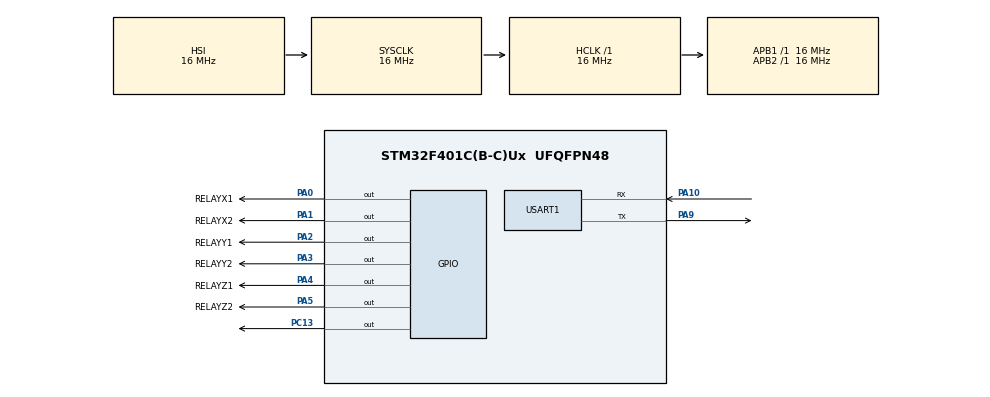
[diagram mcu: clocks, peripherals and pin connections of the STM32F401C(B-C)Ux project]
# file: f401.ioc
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Mcu.Family=STM32F4
Mcu.Name=STM32F401C(B-C)Ux
Mcu.Package=UFQFPN48
NVIC.PriorityGroup=NVIC_PRIORITYGROUP_4
PA0-WKUP.GPIO_Label=RELAYX1
PA0-WKUP.Signal=GPIO_Output
PA1.GPIO_Label=RELAYX2
PA1.Signal=GPIO_Output
PA10.Mode=Asynchronous
PA10.Signal=USART1_RX
PA2.GPIO_Label=RELAYY1
PA2.Signal=GPIO_Output
PA3.GPIO_Label=RELAYY2
PA3.Signal=GPIO_Output
PA4.GPIO_Label=RELAYZ1
PA4.Signal=GPIO_Output
PA5.GPIO_Label=RELAYZ2
PA5.Signal=GPIO_Output
PA9.Mode=Asynchronous
PA9.Signal=USART1_TX
PC13-ANTI_TAMP.Signal=GPIO_Output
PC14-OSC32_IN.Mode=LSE-External-Oscillator
PC14-OSC32_IN.Signal=RCC_OSC32_IN
PC15-OSC32_OUT.Mode=LSE-External-Oscillator
PC15-OSC32_OUT.Signal=RCC_OSC32_OUT
PH0\ -\ OSC_IN.Mode=HSE-External-Oscillator
PH0\ -\ OSC_IN.Signal=RCC_OSC_IN
PH1\ -\ OSC_OUT.Mode=HSE-External-Oscillator
PH1\ -\ OSC_OUT.Signal=RCC_OSC_OUT
ProjectManager.HeapSize=0x200
ProjectManager.StackSize=0x400
ProjectManager.TargetToolchain=STM32CubeIDE
RCC.AHBFreq_Value=16000000
RCC.APB1Freq_Value=16000000
RCC.APB2Freq_Value=16000000
RCC.CortexFreq_Value=16000000
RCC.HSE_VALUE=25000000
RCC.HSI_VALUE=16000000
RCC.SYSCLKFreq_VALUE=16000000
RCC.VCOOutputFreq_Value=192000000
USART1.VirtualMode=VM_ASYNC
board=custom

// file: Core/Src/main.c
/* USER CODE BEGIN Header */
/**
  ******************************************************************************
  * @file           : main.c
  * @brief          : Main program body
  ******************************************************************************
  * @attention
  *
  * Copyright (c) 2022 STMicroelectronics.
  * All rights reserved.
  *
  * This software is licensed under terms that can be found in the LICENSE file
  * in the root directory of this software component.
  * If no LICENSE file comes with this software, it is provided AS-IS.
  *
  ******************************************************************************
  */
/* USER CODE END Header */
#include "main.h"

/* USER CODE BEGIN Includes */
#include <stdio.h>
#include <stdbool.h>
#include <string.h>
/* USER CODE END Includes */

 UART_HandleTypeDef huart1;

void SystemClock_Config(void);
static void MX_GPIO_Init(void);
static void MX_USART1_UART_Init(void);

/* USER CODE BEGIN 0 */
static inline void printout(char *str) {
    HAL_UART_Transmit(&huart1, (uint8_t *)str, strlen(str), 100);

}

//void handle_command(char *cmd) {
//	switch (*(cmd +1)){
//	case 'n':
//		HAL_GPIO_WritePin(RELAY_GPIO_Port, RELAY_Pin, 0);
//		printout("Relay On\r\n");
//		break;
//	case 'f':
//		HAL_GPIO_WritePin(RELAY_GPIO_Port, RELAY_Pin, 1);
//		printout("Relay Off\r\n");
//		break;
//	}
//}

void handle_ctrl(char *cmd){
	switch(*cmd){
		case 'w':
			X_LEFT();
			break;
		case 's':
			X_RIGHT();
			break;
		case 'a':
			Y_LEFT();
			break;
		case 'd':
			Y_RIGHT();
			break;
		case 'q':
			Z_LEFT();
			break;
		case 'e':
			Z_RIGHT();
			break;
		case 'o':
			X_OFF();
			Y_OFF();
			Z_OFF();
			break;
		default:
			X_OFF();
			Y_OFF();
			Z_OFF();
			break;
	}
}
/* USER CODE END 0 */

int main(void)
{

  /* MCU Configuration--------------------------------------------------------*/

  /* Reset of all peripherals, Initializes the Flash interface and the Systick. */
  HAL_Init();

  /* Configure the system clock */
  SystemClock_Config();

  /* Initialize all configured peripherals */
  MX_GPIO_Init();
  MX_USART1_UART_Init();
  /* USER CODE BEGIN 2 */
  uint8_t state;
  char cmd[64];
  char buf[64];
  char *ptr = cmd;
  printout("STM BOOTING\r\n");
  /* USER CODE END 2 */

  /* Infinite loop */
  /* USER CODE BEGIN WHILE */
  HAL_StatusTypeDef rc;
  while (1)
  {
	  rc = HAL_UART_Receive(&huart1, (uint8_t *)ptr, 1, 100);

	  handle_ctrl(cmd);
	  *ptr = 0;

	  // below is input state machine
//	  state = idle;
//	     while (1) {
//	         switch (state) {
//	         case idle:
//	             printout("\r:>> ");
//	             state = receiving;
//	             break;
//	         case receiving:;
//	             HAL_StatusTypeDef rc = HAL_UART_Receive(&huart1, (uint8_t *)ptr, 1, 100);
    /* USER CODE END WHILE */

    /* USER CODE BEGIN 3 */
//	             /* Build up the command one byte at a time */
//	             if (rc != HAL_OK) {
//	                 if (rc != HAL_TIMEOUT) {
//	                     sprintf(buf, "UART read error: %x\r\n", rc);
//	                     printout(buf);
//	                 }
//	                 continue;
//	             }
//	             /* Command is complete when we get EOL of some sort */
//	             if (*ptr == '\n' || *ptr == '\r') {
//	                 *ptr = 0;
//	                 printout("\r\n");
//	                 handle_command(cmd);
//	                 ptr = cmd;
//	                 state = idle;
//
//	             } else {
//	                 *(ptr + 1) = 0;
//	                 printout(ptr);
//
//	                 if (*ptr == 0x7f) { // handle backspace
//	                     if (ptr > cmd)
//	                         --ptr;
//	                 } else
//	                     ++ptr;
//	             }
//	             break;
//	         }
//	     }
    /* USER CODE END WHILE */

    /* USER CODE BEGIN 3 */
  }
  /* USER CODE END 3 */
}

void SystemClock_Config(void)
{
  RCC_OscInitTypeDef RCC_OscInitStruct = {0};
  RCC_ClkInitTypeDef RCC_ClkInitStruct = {0};

  /** Configure the main internal regulator output voltage
  */
  __HAL_RCC_PWR_CLK_ENABLE();
  __HAL_PWR_VOLTAGESCALING_CONFIG(PWR_REGULATOR_VOLTAGE_SCALE2);

  /** Initializes the RCC Oscillators according to the specified parameters
  * in the RCC_OscInitTypeDef structure.
  */
  RCC_OscInitStruct.OscillatorType = RCC_OSCILLATORTYPE_HSI;
  RCC_OscInitStruct.HSIState = RCC_HSI_ON;
  RCC_OscInitStruct.HSICalibrationValue = RCC_HSICALIBRATION_DEFAULT;
  RCC_OscInitStruct.PLL.PLLState = RCC_PLL_NONE;
  if (HAL_RCC_OscConfig(&RCC_OscInitStruct) != HAL_OK)
  {
    Error_Handler();
  }

  /** Initializes the CPU, AHB and APB buses clocks
  */
  RCC_ClkInitStruct.ClockType = RCC_CLOCKTYPE_HCLK|RCC_CLOCKTYPE_SYSCLK
                              |RCC_CLOCKTYPE_PCLK1|RCC_CLOCKTYPE_PCLK2;
  RCC_ClkInitStruct.SYSCLKSource = RCC_SYSCLKSOURCE_HSI;
  RCC_ClkInitStruct.AHBCLKDivider = RCC_SYSCLK_DIV1;
  RCC_ClkInitStruct.APB1CLKDivider = RCC_HCLK_DIV1;
  RCC_ClkInitStruct.APB2CLKDivider = RCC_HCLK_DIV1;

  if (HAL_RCC_ClockConfig(&RCC_ClkInitStruct, FLASH_LATENCY_0) != HAL_OK)
  {
    Error_Handler();
  }
}

static void MX_USART1_UART_Init(void)
{

  huart1.Instance = USART1;
  huart1.Init.BaudRate = 115200;
  huart1.Init.WordLength = UART_WORDLENGTH_8B;
  huart1.Init.StopBits = UART_STOPBITS_1;
  huart1.Init.Parity = UART_PARITY_NONE;
  huart1.Init.Mode = UART_MODE_TX_RX;
  huart1.Init.HwFlowCtl = UART_HWCONTROL_NONE;
  huart1.Init.OverSampling = UART_OVERSAMPLING_16;
  if (HAL_UART_Init(&huart1) != HAL_OK)
  {
    Error_Handler();
  }

}

static void MX_GPIO_Init(void)
{
  GPIO_InitTypeDef GPIO_InitStruct = {0};

  /* GPIO Ports Clock Enable */
  __HAL_RCC_GPIOC_CLK_ENABLE();
  __HAL_RCC_GPIOH_CLK_ENABLE();
  __HAL_RCC_GPIOA_CLK_ENABLE();

  /*Configure GPIO pin Output Level */
  HAL_GPIO_WritePin(GPIOC, GPIO_PIN_13, GPIO_PIN_RESET);

  /*Configure GPIO pin Output Level */
  HAL_GPIO_WritePin(GPIOA, RELAYX1_Pin|RELAYX2_Pin|RELAYY1_Pin|RELAYY2_Pin
                          |RELAYZ1_Pin|RELAYZ2_Pin, GPIO_PIN_RESET);

  /*Configure GPIO pin : PC13 */
  GPIO_InitStruct.Pin = GPIO_PIN_13;
  GPIO_InitStruct.Mode = GPIO_MODE_OUTPUT_PP;
  GPIO_InitStruct.Pull = GPIO_NOPULL;
  GPIO_InitStruct.Speed = GPIO_SPEED_FREQ_LOW;
  HAL_GPIO_Init(GPIOC, &GPIO_InitStruct);

  /*Configure GPIO pins : RELAYX1_Pin RELAYX2_Pin RELAYY1_Pin RELAYY2_Pin
                           RELAYZ1_Pin RELAYZ2_Pin */
  GPIO_InitStruct.Pin = RELAYX1_Pin|RELAYX2_Pin|RELAYY1_Pin|RELAYY2_Pin
                          |RELAYZ1_Pin|RELAYZ2_Pin;
  GPIO_InitStruct.Mode = GPIO_MODE_OUTPUT_PP;
  GPIO_InitStruct.Pull = GPIO_NOPULL;
  GPIO_InitStruct.Speed = GPIO_SPEED_FREQ_LOW;
  HAL_GPIO_Init(GPIOA, &GPIO_InitStruct);

}

/* USER CODE BEGIN 4 */

void X_LEFT(){
	HAL_GPIO_WritePin(RELAYX1_GPIO_Port, RELAYX1_Pin, 1);
	HAL_GPIO_WritePin(RELAYX2_GPIO_Port, RELAYX2_Pin, 0);
	printout("X LEFT\r\n");
}
void Y_LEFT(){
	HAL_GPIO_WritePin(RELAYY1_GPIO_Port, RELAYY1_Pin, 1);
	HAL_GPIO_WritePin(RELAYY2_GPIO_Port, RELAYY2_Pin, 0);
	printout("Y LEFT\r\n");
}
void Z_LEFT(){
	HAL_GPIO_WritePin(RELAYZ1_GPIO_Port, RELAYZ1_Pin, 1);
	HAL_GPIO_WritePin(RELAYZ2_GPIO_Port, RELAYZ2_Pin, 0);
	printout("Z LEFT\r\n");

}
void X_RIGHT(){
	HAL_GPIO_WritePin(RELAYX1_GPIO_Port, RELAYX1_Pin, 0);
	HAL_GPIO_WritePin(RELAYX2_GPIO_Port, RELAYX2_Pin, 1);
	printout("X RIGHT\r\n");
}
void Y_RIGHT(){
	HAL_GPIO_WritePin(RELAYY1_GPIO_Port, RELAYY1_Pin, 0);
	HAL_GPIO_WritePin(RELAYY2_GPIO_Port, RELAYY2_Pin, 1);
	printout("Y RIGHT\r\n");
}
void Z_RIGHT(){
	HAL_GPIO_WritePin(RELAYZ1_GPIO_Port, RELAYZ1_Pin, 0);
	HAL_GPIO_WritePin(RELAYZ2_GPIO_Port, RELAYZ2_Pin, 1);
	printout("Z RIGHT\r\n");
}

void X_OFF(){
//	HAL_GPIO_WritePin(RELAY_GPIO_Port, RELAY_Pin, 0);
	HAL_GPIO_WritePin(RELAYX1_GPIO_Port, RELAYX1_Pin, 1);
	HAL_GPIO_WritePin(RELAYX2_GPIO_Port, RELAYX2_Pin, 1);
}
void Y_OFF(){
	HAL_GPIO_WritePin(RELAYY1_GPIO_Port, RELAYY1_Pin, 1);
	HAL_GPIO_WritePin(RELAYY2_GPIO_Port, RELAYY2_Pin, 1);
}
void Z_OFF(){
	HAL_GPIO_WritePin(RELAYZ1_GPIO_Port, RELAYZ1_Pin, 1);
	HAL_GPIO_WritePin(RELAYZ2_GPIO_Port, RELAYZ2_Pin, 1);}

/* USER CODE END 4 */

void Error_Handler(void)
{
  __disable_irq();
  while (1)
  {
  }
}
